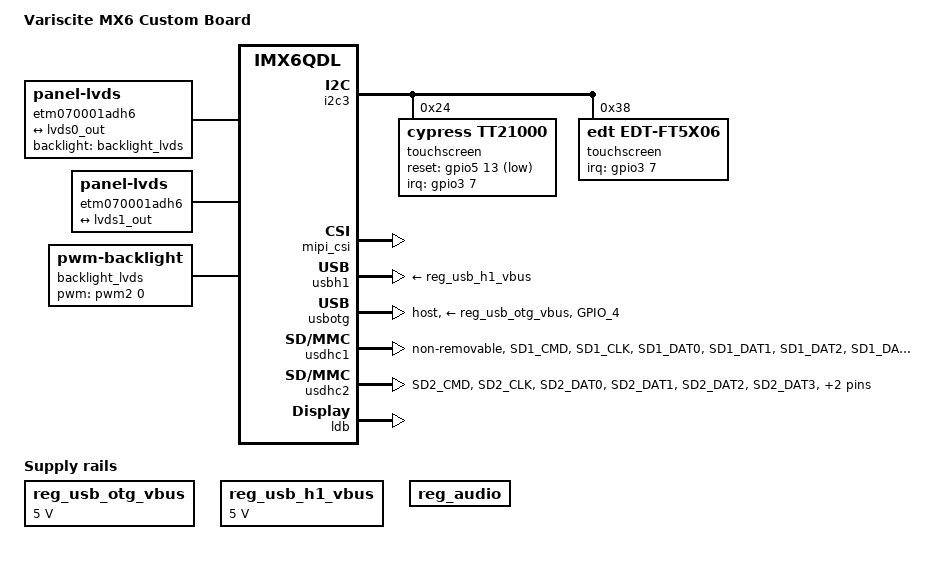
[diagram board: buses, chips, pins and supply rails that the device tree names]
// SPDX-License-Identifier: GPL-2.0+
//
// Copyright 2016 Variscite, Ltd. All Rights Reserved
// Copyright 2022 Bootlin

#include "imx6qdl-var-som.dtsi"
#include <dt-bindings/pwm/pwm.h>
/ {
	model = "Variscite MX6 Custom Board";

	regulators {

		reg_usb_otg_vbus: regulator-usb-otg-vbus {
			compatible = "regulator-fixed";
			regulator-name = "usb_otg_vbus";
			regulator-min-microvolt = <5000000>;
			regulator-max-microvolt = <5000000>;
		};

		reg_usb_h1_vbus: regulator-usb-h1-vbud {
			compatible = "regulator-fixed";
			regulator-name = "usb_h1_vbus";
			regulator-min-microvolt = <5000000>;
			regulator-max-microvolt = <5000000>;
		};

		reg_audio: regulator-audio {
			compatible = "regulator-fixed";
			regulator-name = "tlv320aic3x-supply";
			enable-active-high;
		};

	};

	panel-lvds0 {
		compatible =  "panel-lvds";
		backlight = <&backlight_lvds>;
		width-mm = <152>;
		height-mm = <91>;
		label = "etm070001adh6";
		data-mapping = "jeida-18";

		panel-timing {
				clock-frequency = <32000000>;
				hactive = <800>;
				vactive = <480>;
				hback-porch = <39>;
				hfront-porch = <39>;
				vback-porch = <29>;
				vfront-porch = <13>;
				hsync-len = <47>;
				vsync-len = <2>;
			};

		port {
			panel_in_lvds0: endpoint {
				remote-endpoint = <&lvds0_out>;
			};
		};
	};

	panel-lvds1 {
		compatible =  "panel-lvds";
		width-mm = <152>;
		height-mm = <91>;
		label = "etm070001adh6";
		data-mapping = "jeida-18";

		panel-timing {
				clock-frequency = <38251000>;
				hactive = <800>;
				vactive = <600>;
				hback-porch = <112>;
				hfront-porch = <32>;
				vback-porch = <3>;
				vfront-porch = <17>;
				hsync-len = <80>;
				vsync-len = <4>;
			};

		port {
			panel_in_lvds1: endpoint {
				remote-endpoint = <&lvds1_out>;
			};
		};
	};

	backlight_lvds: backlight-lvds {
		compatible = "pwm-backlight";
		pwms = <&pwm2 0 50000 0>;
		brightness-levels = <0 4 8 16 32 64 128 248>;
		default-brightness-level = <7>;
		status = "okay";
	};
};

&i2c3 {
	pinctrl-names = "default";
	pinctrl-0 = <&pinctrl_i2c3_3>;
	status = "okay";

	touchscreen@24 {
		compatible = "cypress,tt21000";
		reg = <0x24>;
		interrupt-parent = <&gpio3>;
		interrupts = <7 IRQ_TYPE_EDGE_FALLING>;
		reset-gpios = <&gpio5 13 GPIO_ACTIVE_LOW>;
		touchscreen-size-x = <880>;
		touchscreen-size-y = <1280>;
	};

	touchscreen@38 {
		compatible = "edt,edt-ft5x06";
		reg = <0x38>;
		interrupt-parent = <&gpio3>;
		interrupts = <7 IRQ_TYPE_EDGE_FALLING>;
		touchscreen-size-x = <1800>;
		touchscreen-size-y = <1000>;
	};
};

&iomuxc {
	imx6qdl-var-som-mx6 {

		pinctrl_ipu1: ipu1grp {
			fsl,pins = <
				MX6QDL_PAD_DI0_DISP_CLK__IPU1_DI0_DISP_CLK	0x10
				MX6QDL_PAD_DI0_PIN15__IPU1_DI0_PIN15		0x10
				MX6QDL_PAD_DI0_PIN2__IPU1_DI0_PIN02		0x10
				MX6QDL_PAD_DI0_PIN3__IPU1_DI0_PIN03		0x10
				MX6QDL_PAD_DI0_PIN4__IPU1_DI0_PIN04		0x80000000
				MX6QDL_PAD_DISP0_DAT0__IPU1_DISP0_DATA00	0x10
				MX6QDL_PAD_DISP0_DAT1__IPU1_DISP0_DATA01	0x10
				MX6QDL_PAD_DISP0_DAT2__IPU1_DISP0_DATA02	0x10
				MX6QDL_PAD_DISP0_DAT3__IPU1_DISP0_DATA03	0x10
				MX6QDL_PAD_DISP0_DAT4__IPU1_DISP0_DATA04	0x10
				MX6QDL_PAD_DISP0_DAT5__IPU1_DISP0_DATA05	0x10
				MX6QDL_PAD_DISP0_DAT6__IPU1_DISP0_DATA06	0x10
				MX6QDL_PAD_DISP0_DAT7__IPU1_DISP0_DATA07	0x10
				MX6QDL_PAD_DISP0_DAT8__IPU1_DISP0_DATA08	0x10
				MX6QDL_PAD_DISP0_DAT9__IPU1_DISP0_DATA09	0x10
				MX6QDL_PAD_DISP0_DAT10__IPU1_DISP0_DATA10	0x10
				MX6QDL_PAD_DISP0_DAT11__IPU1_DISP0_DATA11	0x10
				MX6QDL_PAD_DISP0_DAT12__IPU1_DISP0_DATA12	0x10
				MX6QDL_PAD_DISP0_DAT13__IPU1_DISP0_DATA13	0x10
				MX6QDL_PAD_DISP0_DAT14__IPU1_DISP0_DATA14	0x10
				MX6QDL_PAD_DISP0_DAT15__IPU1_DISP0_DATA15	0x10
				MX6QDL_PAD_DISP0_DAT16__IPU1_DISP0_DATA16	0x10
				MX6QDL_PAD_DISP0_DAT17__IPU1_DISP0_DATA17	0x10
				MX6QDL_PAD_DISP0_DAT18__IPU1_DISP0_DATA18	0x10
				MX6QDL_PAD_DISP0_DAT19__IPU1_DISP0_DATA19	0x10
				MX6QDL_PAD_DISP0_DAT20__IPU1_DISP0_DATA20	0x10
				MX6QDL_PAD_DISP0_DAT21__IPU1_DISP0_DATA21	0x10
				MX6QDL_PAD_DISP0_DAT22__IPU1_DISP0_DATA22	0x10
				MX6QDL_PAD_DISP0_DAT23__IPU1_DISP0_DATA23	0x10
			>;
		};

		pinctrl_ipu1_2: ipu1grp-2 { /* parallel camera */
			fsl,pins = <
				MX6QDL_PAD_CSI0_DAT12__IPU1_CSI0_DATA12		0x80000000
				MX6QDL_PAD_CSI0_DAT13__IPU1_CSI0_DATA13		0x80000000
				MX6QDL_PAD_CSI0_DAT14__IPU1_CSI0_DATA14		0x80000000
				MX6QDL_PAD_CSI0_DAT15__IPU1_CSI0_DATA15		0x80000000
				MX6QDL_PAD_CSI0_DAT16__IPU1_CSI0_DATA16		0x80000000
				MX6QDL_PAD_CSI0_DAT17__IPU1_CSI0_DATA17		0x80000000
				MX6QDL_PAD_CSI0_DAT18__IPU1_CSI0_DATA18		0x80000000
				MX6QDL_PAD_CSI0_DAT19__IPU1_CSI0_DATA19		0x80000000
				MX6QDL_PAD_CSI0_DATA_EN__IPU1_CSI0_DATA_EN	0x80000000
				MX6QDL_PAD_CSI0_PIXCLK__IPU1_CSI0_PIXCLK	0x80000000
				MX6QDL_PAD_CSI0_MCLK__IPU1_CSI0_HSYNC		0x80000000
				MX6QDL_PAD_CSI0_VSYNC__IPU1_CSI0_VSYNC		0x80000000
			>;
		};

		pinctrl_usbotg_var: usbotggrp-3 {
			fsl,pins = <
				MX6QDL_PAD_GPIO_4__GPIO1_IO04 		0x17059
			>;
		};

		pinctrl_usdhc1_1: usdhc1grp {
			fsl,pins = <
				MX6QDL_PAD_SD1_CMD__SD1_CMD		0x17071
				MX6QDL_PAD_SD1_CLK__SD1_CLK		0x10071
				MX6QDL_PAD_SD1_DAT0__SD1_DATA0		0x17071
				MX6QDL_PAD_SD1_DAT1__SD1_DATA1		0x17071
				MX6QDL_PAD_SD1_DAT2__SD1_DATA2		0x17071
				MX6QDL_PAD_SD1_DAT3__SD1_DATA3		0x17071
			>;
		};

		pinctrl_usdhc2_2: usdhc2grp {
			fsl,pins = <
				MX6QDL_PAD_SD2_CMD__SD2_CMD		0x17059
				MX6QDL_PAD_SD2_CLK__SD2_CLK		0x10059
				MX6QDL_PAD_SD2_DAT0__SD2_DATA0		0x17059
				MX6QDL_PAD_SD2_DAT1__SD2_DATA1		0x17059
				MX6QDL_PAD_SD2_DAT2__SD2_DATA2		0x17059
				MX6QDL_PAD_SD2_DAT3__SD2_DATA3		0x17059
			>;
		};
		pinctrl_flexcan1_3: flexcan1grp {
			fsl,pins = <
				MX6QDL_PAD_GPIO_7__FLEXCAN1_TX		0x80000000
				MX6QDL_PAD_GPIO_8__FLEXCAN1_RX		0x80000000
			>;
		};
	};
};

&mipi_csi {
	status = "okay";
	ipu_id = <0>;
	csi_id = <1>;
	v_channel = <0>;
	lanes = <2>;
};

&usbh1 {
	vbus-supply = <&reg_usb_h1_vbus>;
	status = "okay";
};

&usbotg {
	vbus-supply = <&reg_usb_otg_vbus>;
	pinctrl-names = "default";
	pinctrl-0 = <&pinctrl_usbotg_var>;
	disable-over-current;
	/* dr_mode: One of "host", "peripheral" or "otg". Defaults to "otg" */
	dr_mode = "host" ;
	status = "okay";
};

&usbphy1 {
	tx-d-cal = <0x5>;
};

&usbphy2 {
	tx-d-cal = <0x5>;
};

&usdhc1 {	/* uSDHC1, eMMC */
	pinctrl-names = "default";
	pinctrl-0 = <&pinctrl_usdhc1_1>;
	non-removable;
	keep-power-in-suspend;
	enable-sdio-wakeup;
	status = "okay";
};

&usdhc2 {	/* uSDHC2, MMC/SD card */
	pinctrl-names = "default";
	pinctrl-0 = <&pinctrl_usdhc2_2>;
	cd-gpios = <&gpio4 14 GPIO_ACTIVE_LOW>;
	wp-gpios = <&gpio4 15 GPIO_ACTIVE_HIGH>;
	status = "okay";
};

&ldb {
	status = "okay";

	lvds-channel@0 {
		fsl,data-mapping = "spwg";
		fsl,data-width = <24>;
		status = "okay";
		primary;
		port@4 {
			reg = <4>;

			lvds0_out: endpoint {
				remote-endpoint = <&panel_in_lvds0>;
			};
		};
	};

	lvds-channel@1 {
		fsl,data-mapping = "spwg";
		fsl,data-width = <24>;
		status = "okay";
		primary;
		port@4 {
			reg = <4>;

			lvds1_out: endpoint {
				remote-endpoint = <&panel_in_lvds1>;
			};
		};
	};
};
